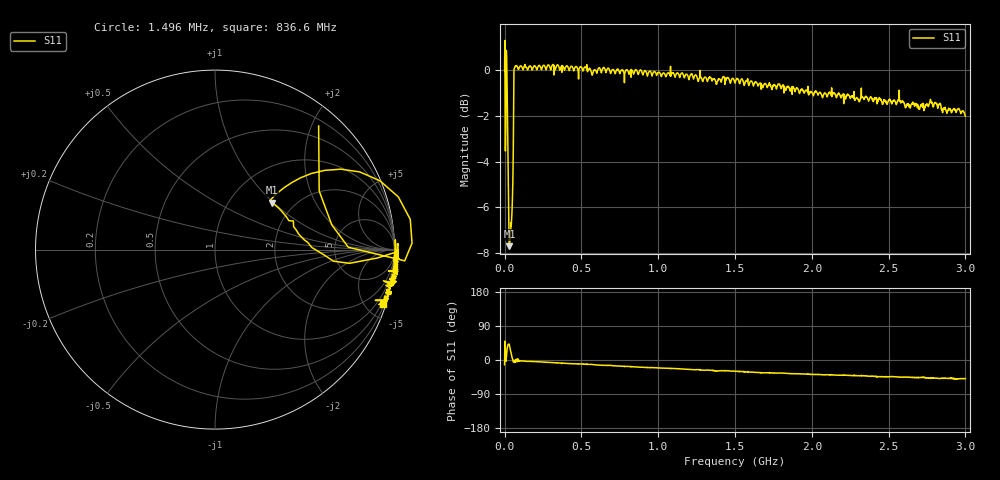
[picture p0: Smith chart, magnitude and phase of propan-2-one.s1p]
# HZ S RI R 50
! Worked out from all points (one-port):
!   2020 points, 10 kHz to 3 GHz, reference 50 ohm
!   lowest |S11| = -7.7 dB at 31.21 MHz (marker M1), VSWR 2.41, Z = 78 + j49.2 ohm
!   |S11| at or under -10 dB: nowhere
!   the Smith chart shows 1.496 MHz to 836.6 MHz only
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10000  0.9715 -0.2159
5953516  0.6505 0.1381
1.635467e7  0.8065 0.4328
1.932643e7  0.6106 0.4414
2.378406e7  0.4281 0.3736
2.675582e7  0.3567 0.3225
3.121346e7  0.3194 0.2615
3.715698e7  0.3827 0.2001
4.310049e7  0.4382 0.1278
5.350164e7  0.5677 -0.00558
6.39028e7  1.007 -0.0279
7.133219e7  1.018 -0.0011
7.578983e7  1.018 0.0336
3.759374e8  1.01 -0.1497
7.503789e8  0.9422 -0.2695
1.126306e9  0.9065 -0.383
1.37742e9  0.8057 -0.4639
1.435369e9  0.847 -0.4497
1.500748e9  0.8132 -0.4621
1.677567e9  0.7641 -0.5083
1.875189e9  0.7409 -0.5421
2.251117e9  0.6552 -0.5656
2.575038e9  0.6047 -0.6063
2.625558e9  0.5851 -0.6008
2.820208e9  0.5487 -0.6146
2.866271e9  0.5491 -0.6148
2.947994e9  0.5268 -0.6279
3e9  0.5193 -0.5977
